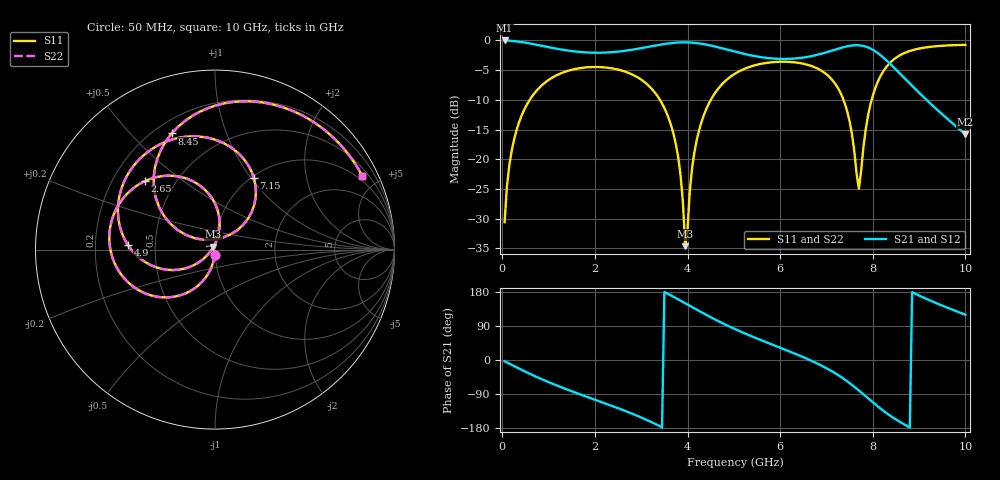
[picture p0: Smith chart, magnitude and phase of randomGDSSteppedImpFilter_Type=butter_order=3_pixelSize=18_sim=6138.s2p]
! freq	dB(S11)	phase(S11)	dB(S12)	phase(S12)
!  dB(S21)	phase(S21)	dB(S22)	phase(S22)
!S-par simulation data
#  GHz  S  DB  R 50
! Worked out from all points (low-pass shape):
!   200 points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, 50 MHz to 10 GHz, reference 50 ohm
!   highest |S21| = -0.01 dB at 50 MHz (marker M1); lowest = -15.8 dB at 10 GHz (marker M2)
!   |S21| within 3 dB of the highest: start of sweep to 5.786 GHz; 6.372 GHz to 8.247 GHz (1.875 GHz wide, 25.7 % of centre)
!   lowest |S11| = -34.6 dB at 3.95 GHz (marker M3), VSWR 1.04, Z = 49.1 + j1.62 ohm
!   |S11| at or under -10 dB: start of sweep to 592.5 MHz; 3.404 GHz to 4.502 GHz (1.098 GHz wide, 27.8 % of centre); 7.367 GHz to 7.976 GHz (609.2 MHz wide, 7.94 % of centre)
!   |S22| runs from -34.6 to -0.7 dB; largest |S21 - S12| = 0
!   S11 on the Smith chart (normalised r, x): 50 MHz: 0.99, -0.06; 2.65 GHz: 0.34, +0.37; 4.9 GHz: 0.35, +0.02; 7.15 GHz: 1.03, +1.03; 8.45 GHz: 0.27, +0.66; 10 GHz: 0.79, +4.09
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0.05  -30.57 -93.3  -0.01 -3.2  -0.01 -3.2  -30.57 -93.3
0.2  -18.67 -103.1  -0.08 -12.7  -0.08 -12.7  -18.67 -103.1
0.5  -11.25 -121.4  -0.38 -30.9  -0.38 -30.9  -11.25 -121.4
1.75  -4.59 175.9  -1.99 -93.7  -1.99 -93.7  -4.59 175.9
2.65  -5.24 135.9  -1.75 -134.1  -1.75 -134.1  -5.24 135.9
3.4  -9.95 97.1  -0.73 -174.4  -0.73 -174.4  -9.95 97.1
3.8  -19.71 77.4  -0.36 159.9  -0.36 159.9  -19.71 77.4
3.95  -34.61 117.7  -0.33 149.8  -0.33 149.8  -34.63 117.6
4.1  -21.40 -141.2  -0.38 139.6  -0.38 139.6  -21.40 -141.2
4.25  -15.08 -146.0  -0.50 129.4  -0.50 129.4  -15.09 -146.0
4.9  -6.27 177.0  -1.64 88.6  -1.64 88.6  -6.27 177.0
5.05  -5.48 168.9  -1.94 80.2  -1.94 80.2  -5.48 168.9
6  -3.59 122.4  -3.11 32.4  -3.11 32.4  -3.59 122.4
6.7  -4.37 87.8  -2.60 -3.4  -2.60 -3.4  -4.37 87.8
7.15  -6.89 61.3  -1.64 -32.1  -1.64 -32.1  -6.89 61.3
7.5  -13.61 41.3  -0.91 -60.9  -0.91 -60.9  -13.61 41.3
7.7  -24.94 99.4  -0.82 -80.4  -0.82 -80.4  -24.95 99.5
7.95  -10.76 149.8  -1.37 -106.5  -1.37 -106.5  -10.76 149.8
8.35  -3.95 118.1  -3.74 -144.8  -3.74 -144.8  -3.95 118.2
8.45  -3.22 110.4  -4.50 -153.0  -4.50 -153.0  -3.22 110.5
9.1  -1.23 69.5  -9.56 164.4  -9.56 164.4  -1.23 69.5
10  -0.75 26.6  -15.80 119.5  -15.80 119.5  -0.75 26.6
